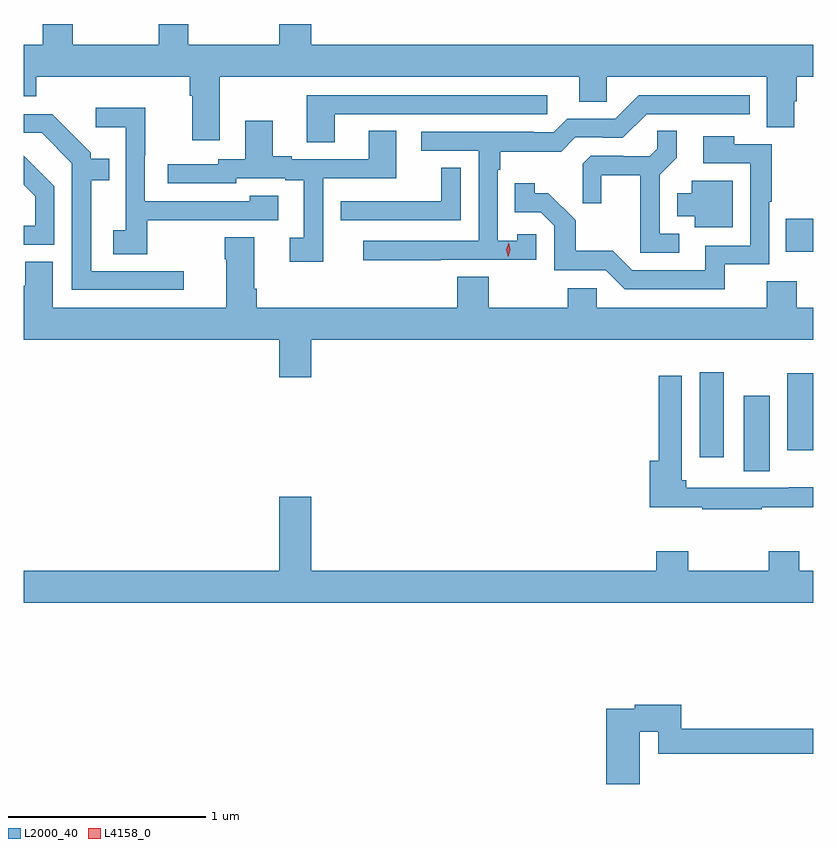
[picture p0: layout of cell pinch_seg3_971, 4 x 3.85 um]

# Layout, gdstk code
import gdstk
lib = gdstk.Library(unit=1e-6, precision=1e-09)
def R(c, l, rs):  # rectangles x0, y0, x1, y1
    for r in rs: c.add(gdstk.rectangle(r[:2], r[2:], *l))
def P(c, l, *ps):  # polygons
    for p in ps: c.add(gdstk.Polygon(p, *l))
L2000_40 = (2000, 40)
L4158_0 = (4158, 0)

pinch_seg3_971 = lib.new_cell('pinch_seg3_971')
R(pinch_seg3_971, L2000_40, [(455.072,720.232,455.206,720.613), (454.85,720.303,454.972,720.733), (455.294,720.338,455.426,720.727), (455.287,721.343,455.426,721.509)])
P(pinch_seg3_971, L2000_40, [(452.419,722.228),(454.241,722.228),(454.241,722.101),(454.38,722.101),(454.38,722.228),(455.189,722.228),(455.189,721.972),(455.329,721.972),(455.329,722.106),(455.342,722.106),(455.342,722.228),(455.426,722.228),(455.426,722.392),(452.884,722.392),(452.884,722.496),(452.72,722.496),(452.72,722.392),(452.259,722.392),(452.259,722.496),(452.111,722.496),(452.111,722.392),(451.675,722.392),(451.675,722.496),(451.523,722.496),(451.523,722.392),(451.426,722.392),(451.426,722.129),(451.49,722.129),(451.49,722.228),(452.267,722.228),(452.267,722.132),(452.279,722.132),(452.279,721.908),(452.419,721.908)],
  [(453.001,722.04),(454.078,722.04),(454.078,722.136),(452.861,722.136),(452.861,721.897),(453.001,721.897)],
  [(453.539,721.302),(454.023,721.302),(454.023,721.431),(453.927,721.431),(453.927,721.399),(453.828,721.399),(453.828,721.757),(453.841,721.757),(453.841,721.85),(454.148,721.85),(454.221,721.923),(454.36,721.923),(454.36,721.92),(454.461,721.92),(454.581,722.04),(455.104,722.04),(455.104,722.136),(454.542,722.136),(454.422,722.016),(454.179,722.016),(454.11,721.947),(454.01,721.947),(454.01,721.95),(453.441,721.95),(453.441,721.854),(453.732,721.854),(453.732,721.398),(453.147,721.398),(453.147,721.3),(453.539,721.3)],
  [(452.053,721.501),(452.357,721.501),(452.357,721.503),(452.716,721.503),(452.716,721.627),(452.571,721.627),(452.571,721.599),(452.04,721.599),(452.04,721.832),(452.043,721.832),(452.043,722.071),(451.791,722.071),(451.791,721.973),(451.944,721.973),(451.944,721.452),(451.881,721.452),(451.881,721.33),(452.053,721.33)],
  [(452.236,721.245),(451.768,721.245),(451.768,721.704),(451.859,721.704),(451.859,721.813),(451.767,721.813),(451.767,721.845),(451.572,722.04),(451.426,722.04),(451.426,721.944),(451.518,721.944),(451.671,721.791),(451.671,721.149),(452.236,721.149)],
  [(452.943,721.716),(453.313,721.716),(453.313,721.955),(453.173,721.955),(453.173,721.812),(452.785,721.812),(452.785,721.825),(452.689,721.825),(452.689,722.005),(452.549,722.005),(452.549,721.812),(452.412,721.812),(452.412,721.785),(452.157,721.785),(452.157,721.689),(452.502,721.689),(452.502,721.716),(452.75,721.716),(452.75,721.704),(452.846,721.704),(452.846,721.413),(452.775,721.413),(452.775,721.293),(452.943,721.293)],
  [(454.747,721.434),(454.647,721.434),(454.647,721.733),(454.733,721.819),(454.733,721.955),(454.635,721.955),(454.635,721.864),(454.598,721.827),(454.464,721.827),(454.464,721.83),(454.299,721.83),(454.258,721.789),(454.258,721.587),(454.352,721.587),(454.352,721.73),(454.55,721.73),(454.55,721.338),(454.747,721.338)],
  [(454.976,721.278),(455.202,721.278),(455.202,721.597),(455.215,721.597),(455.215,721.887),(455.025,721.887),(455.025,721.927),(454.869,721.927),(454.869,721.791),(455.106,721.791),(455.106,721.374),(454.877,721.374),(454.877,721.248),(454.509,721.248),(454.411,721.347),(454.222,721.347),(454.222,721.502),(454.084,721.64),(454.014,721.64),(454.014,721.69),(453.913,721.69),(453.913,721.542),(454.044,721.542),(454.113,721.473),(454.113,721.248),(454.374,721.248),(454.47,721.152),(454.976,721.152)],
  [(451.581,721.675),(451.426,721.83),(451.426,721.682),(451.484,721.624),(451.484,721.474),(451.426,721.474),(451.426,721.377),(451.581,721.377)],
  [(453.639,721.769),(453.541,721.769),(453.541,721.599),(453.145,721.599),(453.145,721.598),(453.033,721.598),(453.033,721.503),(453.639,721.503)],
  [(455.017,721.702),(454.811,721.702),(454.811,721.639),(454.736,721.639),(454.736,721.523),(454.826,721.523),(454.826,721.466),(455.017,721.466)],
  [(452.884,720.896),(455.426,720.896),(455.426,721.06),(455.342,721.06),(455.342,721.193),(455.189,721.193),(455.189,721.06),(454.329,721.06),(454.329,721.158),(454.183,721.158),(454.183,721.06),(453.783,721.06),(453.783,721.217),(453.623,721.217),(453.623,721.06),(452.606,721.06),(452.606,721.156),(452.593,721.156),(452.593,721.417),(452.446,721.417),(452.446,721.304),(452.453,721.304),(452.453,721.06),(451.573,721.06),(451.573,721.292),(451.435,721.292),(451.435,721.17),(451.426,721.17),(451.426,720.896),(452.72,720.896),(452.72,720.708),(452.884,720.708)],
  [(455.165,720.049),(455.426,720.049),(455.426,720.149),(455.302,720.149),(455.302,720.147),(454.781,720.147),(454.781,720.186),(454.758,720.186),(454.758,720.715),(454.642,720.715),(454.642,720.283),(454.598,720.283),(454.598,720.049),(454.864,720.049),(454.864,720.039),(455.165,720.039)],
  [(455.426,719.728),(455.355,719.728),(455.355,719.827),(455.2,719.827),(455.2,719.728),(454.791,719.728),(454.791,719.827),(454.631,719.827),(454.631,719.728),(452.884,719.728),(452.884,720.103),(452.72,720.103),(452.72,719.728),(451.426,719.728),(451.426,719.564),(455.426,719.564)],
  [(454.546,718.912),(454.641,718.912),(454.641,718.8),(455.426,718.8),(455.426,718.928),(454.757,718.928),(454.757,719.048),(454.522,719.048),(454.522,719.028),(454.376,719.028),(454.376,718.647),(454.546,718.647)])
P(pinch_seg3_971, L4158_0, [(453.881,721.317),(453.881,721.317),(453.871,721.353),(453.882,721.389),(453.882,721.389),(453.882,721.389),(453.891,721.353),(453.881,721.317)])

lib.write_gds('pinch_seg3_971.gds')
